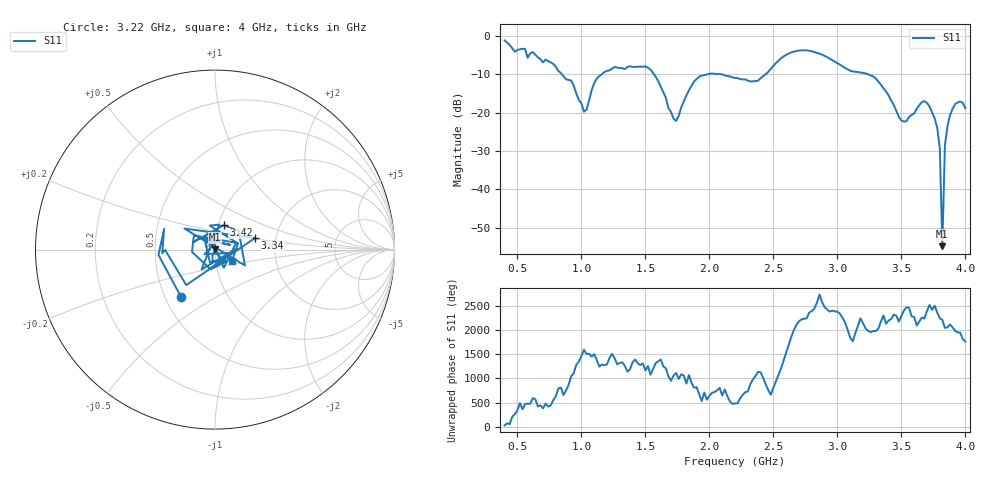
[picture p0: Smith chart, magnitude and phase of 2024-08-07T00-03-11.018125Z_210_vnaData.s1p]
!Created with skrf (http://scikit-rf.org).
# Hz S RI R 50.0
!freq ReS11 ImS11
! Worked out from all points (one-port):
!   181 points, 400 MHz to 4 GHz, reference 50 ohm
!   lowest |S11| = -54.8 dB at 3.82 GHz (marker M1), VSWR 1.00, Z = 50.1 + j0.142 ohm
!   |S11| at or under -10 dB: 1.567 GHz to 1.987 GHz (420.8 MHz wide, 23.7 % of centre); 2.092 GHz to 2.44 GHz (347.4 MHz wide, 15.3 % of centre); 3.24 GHz to end of sweep (the widest 3 of 4)
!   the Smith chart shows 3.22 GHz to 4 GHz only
!   S11 on the Smith chart (normalised r, x): 3.22 GHz: 0.60, -0.35; 3.34 GHz: 1.55, +0.21; 3.42 GHz: 1.06, +0.29; 4 GHz: 1.20, -0.15
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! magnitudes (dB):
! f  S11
! 400 MHz  -1.2
! 860 MHz  -10.5
! 920 MHz  -11.6
! 1.02 GHz  -19.8
! 1.12 GHz  -11.1
! 1.3 GHz  -8.4
! 1.54 GHz  -8.8
! 1.72 GHz  -21.6
! 1.76 GHz  -20.9
! 1.92 GHz  -10.7
! 2.2 GHz  -11.0
! 2.38 GHz  -11.7
! 2.66 GHz  -4.1
! 2.86 GHz  -4.6
! 3.1 GHz  -9.1
! 3.22 GHz  -9.8
! 3.34 GHz  -12.7
! 3.42 GHz  -16.9
! 3.5 GHz  -22.0
! 3.56 GHz  -21.2
! 3.68 GHz  -17.0
! 3.78 GHz  -24.0
! 3.8 GHz  -29.3
! 3.82 GHz  -54.8
! 3.84 GHz  -28.5
! 3.86 GHz  -23.5
! 3.92 GHz  -17.8
! 4 GHz  -18.9
